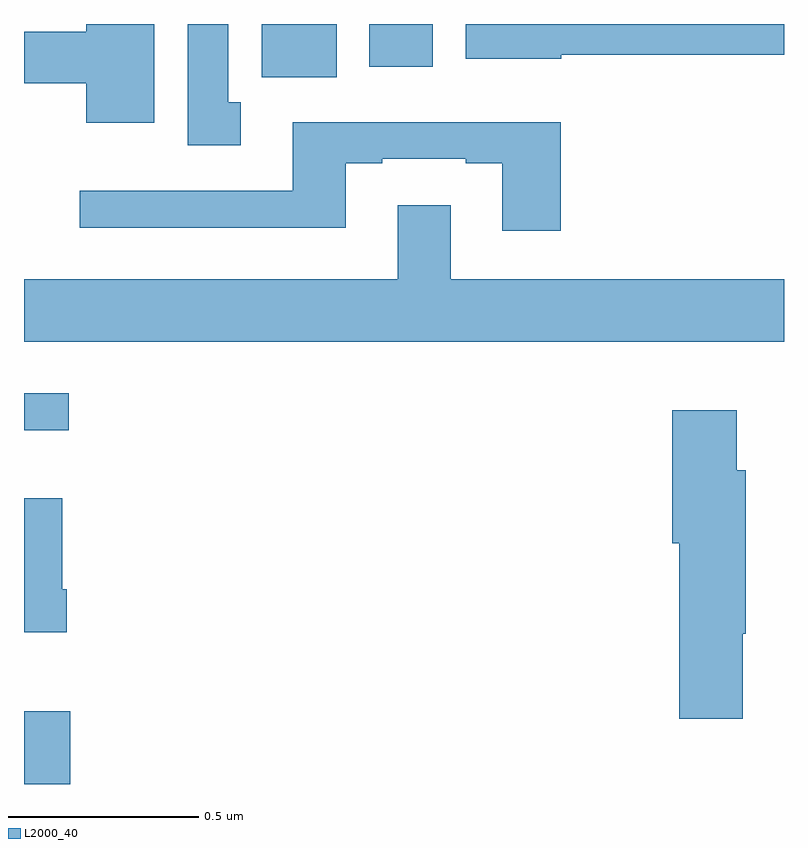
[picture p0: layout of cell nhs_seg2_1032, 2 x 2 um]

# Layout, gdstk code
import gdstk
lib = gdstk.Library(unit=1e-6, precision=1e-09)
def R(c, l, rs):  # rectangles x0, y0, x1, y1
    for r in rs: c.add(gdstk.rectangle(r[:2], r[2:], *l))
def P(c, l, *ps):  # polygons
    for p in ps: c.add(gdstk.Polygon(p, *l))
L2000_40 = (2000, 40)

nhs_seg2_1032 = lib.new_cell('nhs_seg2_1032')
R(nhs_seg2_1032, L2000_40, [(123,651.8,123.122,651.991), (123,652.731,123.118,652.828), (123.626,653.66,123.823,653.8), (123.908,653.688,124.075,653.8)])
P(nhs_seg2_1032, L2000_40, [(124.414,653.719),(125,653.719),(125,653.8),(124.163,653.8),(124.163,653.708),(124.414,653.708)],
  [(123.343,653.8),(123.164,653.8),(123.164,653.78),(123,653.78),(123,653.644),(123.164,653.644),(123.164,653.54),(123.343,653.54)],
  [(123.571,653.594),(123.538,653.594),(123.538,653.8),(123.431,653.8),(123.431,653.481),(123.571,653.481)],
  [(124.412,653.542),(123.707,653.542),(123.707,653.361),(123.147,653.361),(123.147,653.264),(123.847,653.264),(123.847,653.433),(123.943,653.433),(123.943,653.445),(124.163,653.445),(124.163,653.433),(124.259,653.433),(124.259,653.256),(124.412,653.256)],
  [(125,653.128),(124.123,653.128),(124.123,653.323),(123.983,653.323),(123.983,653.128),(123,653.128),(123,652.964),(125,652.964)],
  [(124.891,652.195),(124.899,652.195),(124.899,652.626),(124.876,652.626),(124.876,652.783),(124.706,652.783),(124.706,652.434),(124.724,652.434),(124.724,651.972),(124.891,651.972)],
  [(123.113,652.312),(123.1,652.312),(123.1,652.552),(123,652.552),(123,652.2),(123.113,652.2)])

lib.write_gds('nhs_seg2_1032.gds')
